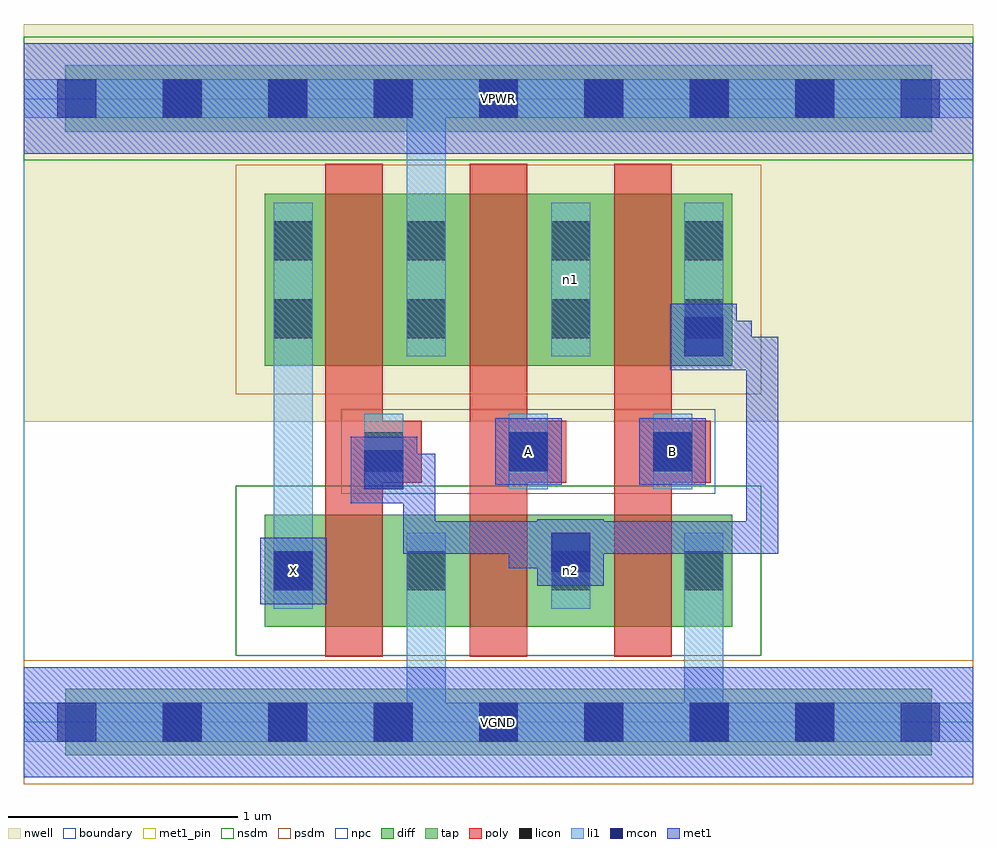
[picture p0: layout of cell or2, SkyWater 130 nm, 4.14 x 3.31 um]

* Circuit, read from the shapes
.subckt or2 A B VGND VPWR X n1 n2
XM1 VGND n2 X VGND sky130_fd_pr__nfet_01v8 w=0.49 l=0.25
XM2 n2 A VGND VGND sky130_fd_pr__nfet_01v8 w=0.49 l=0.25
XM3 VGND B n2 VGND sky130_fd_pr__nfet_01v8 w=0.49 l=0.25
XM4 VPWR n2 X VPWR sky130_fd_pr__pfet_01v8 w=0.75 l=0.25
XM5 n1 A VPWR VPWR sky130_fd_pr__pfet_01v8 w=0.75 l=0.25
XM6 n2 B n1 VPWR sky130_fd_pr__pfet_01v8 w=0.75 l=0.25
.ends

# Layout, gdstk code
import gdstk
lib = gdstk.Library(unit=1e-6, precision=1e-09)
def R(c, l, rs):  # rectangles x0, y0, x1, y1
    for r in rs: c.add(gdstk.rectangle(r[:2], r[2:], *l))
def A(c, l, x, y, w, h, nx, ny, dx, dy):  # array of equal rectangles
    R(c, l, [(x+i*dx, y+j*dy, x+i*dx+w, y+j*dy+h) for i in range(nx) for j in range(ny)])
nwell = (64, 20)
diff = (65, 20)
tap = (65, 44)
poly = (66, 20)
licon = (66, 44)
li1 = (67, 20)
mcon = (67, 44)
met1_pin = (68, 16)
met1 = (68, 20)
nsdm = (93, 44)
psdm = (94, 20)
npc = (95, 20)
boundary = (235, 4)

or2 = lib.new_cell('or2')
R(or2, nwell, [(0,1.31,4.14,3.045)])
R(or2, diff, [(1.05,0.415,3.09,0.905), (1.05,1.555,3.09,2.305)])
R(or2, tap, [(0.18,-0.145,3.96,0.145), (0.18,2.575,3.96,2.865)])
A(or2, poly, 1.315, 0.285, 0.25, 2.15, 3, 1, 0.63, 0)
A(or2, poly, 1.405, 1.045, 0.33, 0.27, 3, 1, 0.63, 0)
A(or2, licon, 0.605, -0.085, 0.17, 0.17, 7, 2, 0.46, 2.72)
A(or2, licon, 1.485, 1.095, 0.17, 0.17, 3, 1, 0.63, 0)
R(or2, licon, [(1.09,0.575,1.26,0.745), (1.67,0.575,1.84,0.745), (2.3,0.575,2.47,0.745), (2.88,0.575,3.05,0.745), (1.09,1.675,1.26,1.845), (1.67,1.675,1.84,1.845), (2.3,1.675,2.47,1.845), (2.88,1.675,3.05,1.845), (1.09,2.015,1.26,2.185), (1.67,2.015,1.84,2.185), (2.3,2.015,2.47,2.185), (2.88,2.015,3.05,2.185)])
A(or2, li1, 1.485, 1.015, 0.17, 0.33, 3, 1, 0.63, 0)
R(or2, li1, [(0,-0.085,4.14,0.085), (1.67,-0.085,1.84,0.825), (2.88,-0.085,3.05,0.825), (1.09,0.495,1.26,0.825), (1.09,0.495,1.26,2.265), (1.67,0.495,1.84,0.825), (2.3,0.495,2.47,0.825), (2.88,0.495,3.05,0.825), (1.09,1.595,1.26,2.265), (1.67,1.595,1.84,2.265), (1.67,1.595,1.84,2.805), (2.3,1.595,2.47,2.265), (2.88,1.595,3.05,2.265), (0,2.635,4.14,2.805)])
A(or2, mcon, 0.145, -0.085, 0.17, 0.17, 9, 2, 0.46, 2.72)
R(or2, mcon, [(1.09,0.575,1.26,0.745), (2.3,0.655,2.47,0.825), (1.485,1.015,1.655,1.185), (2.115,1.095,2.285,1.265), (2.745,1.095,2.915,1.265), (2.88,1.595,3.05,1.765)])
R(or2, met1_pin, [(0,-0.24,4.14,0.24), (1.03,0.515,1.32,0.805), (2.055,1.035,2.345,1.325), (2.685,1.035,2.975,1.325), (0,2.48,4.14,2.96)])
R(or2, met1, [(0,-0.24,4.14,0.24), (1.03,0.515,1.32,0.805), (2.24,0.595,2.53,0.885), (2.115,0.67,2.455,0.81), (2.115,0.67,2.255,0.875), (1.655,0.735,2.255,0.875), (1.655,0.735,1.795,0.99), (2.115,0.735,3.29,0.875), (3.15,0.735,3.29,1.68), (1.655,0.85,1.795,1.17), (1.425,0.955,1.715,1.245), (1.5,1.03,1.795,1.17), (2.055,1.035,2.345,1.325), (2.685,1.035,2.975,1.325), (2.82,1.535,3.11,1.825), (3.11,1.535,3.15,1.68), (3.035,1.54,3.175,1.75), (3.035,1.54,3.29,1.68), (2.895,1.61,3.175,1.75), (0,2.48,4.14,2.96)])
R(or2, nsdm, [(0.925,0.29,3.215,1.03), (0,2.45,4.14,2.99)])
R(or2, psdm, [(0,-0.27,4.14,0.27), (0.925,1.43,3.215,2.43)])
R(or2, npc, [(1.385,0.995,3.015,1.365)])
R(or2, boundary, [(0,0,4.14,2.72)])
or2.add(gdstk.Label('n2', (2.385,0.66), layer=67, texttype=5))
or2.add(gdstk.Label('n1', (2.385,1.93), layer=67, texttype=5))
or2.add(gdstk.Label('A', (2.2,1.18), layer=68, texttype=5))
or2.add(gdstk.Label('B', (2.83,1.18), layer=68, texttype=5))
or2.add(gdstk.Label('X', (1.175,0.66), layer=68, texttype=5))
or2.add(gdstk.Label('VPWR', (2.07,2.72), layer=68, texttype=5))
or2.add(gdstk.Label('VGND', (2.07,0), layer=68, texttype=5))
or2.add(gdstk.Label('A', (2.2,1.18), layer=68, texttype=16))
or2.add(gdstk.Label('B', (2.83,1.18), layer=68, texttype=16))
or2.add(gdstk.Label('X', (1.175,0.66), layer=68, texttype=16))
or2.add(gdstk.Label('VPWR', (2.07,2.72), layer=68, texttype=16))
or2.add(gdstk.Label('VGND', (2.07,0), layer=68, texttype=16))

lib.write_gds('or2.gds')
